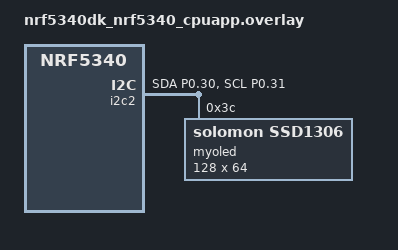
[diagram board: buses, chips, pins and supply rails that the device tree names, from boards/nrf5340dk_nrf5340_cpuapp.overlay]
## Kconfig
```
# Copyright (c) 2024 TOKITA Hiroshi
# SPDX-License-Identifier: Apache-2.0

mainmenu "CFB Sample Application"

config CFB_SAMPLE_TRANSFER_BUFFER_SIZE
	int "Buffer size for image transfer"
	default 0
	help
	  Dynamically allocate display object if set 0 to this option,

source "Kconfig.zephyr"
```

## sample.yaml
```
common:
  harness: display
  tags: display
sample:
  description: Character framebuffer test
  name: cfb sample
tests:
  sample.display.cfb.ssd1306:
    platform_allow: frdm_k64f
    extra_args: SHIELD=ssd1306_128x64
    tags: shield
  sample.display.cfb.ssd16xx:
    platform_allow: reel_board
```

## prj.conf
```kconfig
CONFIG_STDOUT_CONSOLE=y

CONFIG_HEAP_MEM_POOL_SIZE=16384

CONFIG_DISPLAY=y

CONFIG_LOG=y

CONFIG_CFB_LOG_LEVEL_DBG=y
CONFIG_CHARACTER_FRAMEBUFFER=y
```

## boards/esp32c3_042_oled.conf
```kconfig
# Display sits on the I2C bus
CONFIG_I2C=y
```

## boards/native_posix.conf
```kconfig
CONFIG_SDL_DISPLAY_DEV_NAME="DISPLAY"
CONFIG_SDL_DISPLAY_X_RES=250
CONFIG_SDL_DISPLAY_Y_RES=120
```

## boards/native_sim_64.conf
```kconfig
CONFIG_STDOUT_CONSOLE=n
CONFIG_HEAP_MEM_POOL_SIZE=1244160
CONFIG_SDL_DISPLAY_DEFAULT_PIXEL_FORMAT_MONO01=y
```

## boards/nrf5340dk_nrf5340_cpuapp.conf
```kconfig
CONFIG_I2C=y
CONFIG_SSD1306=y
```

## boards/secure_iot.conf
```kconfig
CONFIG_SPI=y
CONFIG_SPI_SHAKTI=y
CONFIG_MULTITASKING=y
```

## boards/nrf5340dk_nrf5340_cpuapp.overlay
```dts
/*
 * Copyright (c) 2026 Ravi
 * SPDX-License-Identifier: Apache-2.0
 */

/ {
	chosen {
		zephyr,display = &myoled;
	};
};

&pinctrl {
	i2c2_default: i2c2_default {
		group1 {
			psels = <NRF_PSEL(TWIM_SDA, 0, 30)>,
			        <NRF_PSEL(TWIM_SCL, 0, 31)>;
			bias-pull-up;
		};
	};
};

&i2c2 {
	status = "okay";
	pinctrl-0 = <&i2c2_default>;
	pinctrl-names = "default";
	zephyr,concat-buf-size = <1025>;

	myoled: ssd1306@3c {
		compatible = "solomon,ssd1306";
		reg = <0x3c>;
		width = <128>;
		height = <64>;
		segment-offset = <0>;
		page-offset = <0>;
		display-offset = <0>;
		multiplex-ratio = <63>;
		segment-remap;
		com-invdir;
		prechargep = <0x22>;
	};
};
```

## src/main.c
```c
/*
 * Copyright (c) 2018 PHYTEC Messtechnik GmbH
 *
 * SPDX-License-Identifier: Apache-2.0
 */

#include <zephyr/kernel.h>
#include <zephyr/device.h>
#include <zephyr/display/cfb.h>
#include <stdio.h>

int main(void)
{
	const struct device *dev;
	uint16_t x_res;
	uint16_t y_res;
	uint16_t rows;
	uint8_t ppt;
	uint8_t font_width;
	uint8_t font_height;
	int ret;

	dev = DEVICE_DT_GET(DT_CHOSEN(zephyr_display));
	if (!device_is_ready(dev)) {
		printf("Device %s not ready\n", dev->name);
		return 0;
	}

	if (display_set_pixel_format(dev, PIXEL_FORMAT_MONO10) != 0) {
		if (display_set_pixel_format(dev, PIXEL_FORMAT_MONO01) != 0) {
			printf("Failed to set required pixel format");
			return 0;
		}
	}

	printf("Initialized %s\n", dev->name);

	if (cfb_framebuffer_init(dev)) {
		printf("Framebuffer initialization failed!\n");
		return 0;
	}

	ret = cfb_framebuffer_clear(dev, true);
	if (ret < 0) {
		printf("cfb_framebuffer_clear(%s, true) failed: %d\n", dev->name, ret);
		return 0;
	}

	ret = display_blanking_off(dev);
	if (ret < 0 && ret != -ENOSYS) {
		printf("display_blanking_off(%s) failed: %d\n", dev->name, ret);
		return 0;
	}

	x_res = cfb_get_display_parameter(dev, CFB_DISPLAY_WIDTH);
	y_res = cfb_get_display_parameter(dev, CFB_DISPLAY_HEIGHT);
	rows = cfb_get_display_parameter(dev, CFB_DISPLAY_ROWS);
	ppt = cfb_get_display_parameter(dev, CFB_DISPLAY_PPT);

	for (int idx = 0; idx < 42; idx++) {
		if (cfb_get_font_size(dev, idx, &font_width, &font_height)) {
			break;
		}
		ret = cfb_framebuffer_set_font(dev, idx);
		if (ret < 0) {
			printf("cfb_framebuffer_set_font(%s, %d) failed: %d\n", dev->name, idx,
			       ret);
			return 0;
		}
		printf("font width %d, font height %d\n",
		       font_width, font_height);
	}

	printf("x_res %d, y_res %d, ppt %d, rows %d, cols %d\n",
	       x_res,
	       y_res,
	       ppt,
	       rows,
	       cfb_get_display_parameter(dev, CFB_DISPLAY_COLS));

	ret = cfb_framebuffer_invert(dev);
	if (ret < 0) {
		printf("cfb_framebuffer_invert(%s) failed: %d\n", dev->name, ret);
		return 0;
	}

	ret = cfb_set_kerning(dev, 3);
	if (ret < 0) {
		printf("cfb_set_kerning(%s, 3) failed: %d\n", dev->name, ret);
		return 0;
	}

	while (1) {
		for (int i = 0; i < MIN(x_res, y_res); i++) {
#if defined(CONFIG_ARCH_POSIX)
			k_sleep(K_MSEC(20));
#endif

			ret = cfb_framebuffer_clear(dev, false);
			if (ret < 0) {
				printf("Failed to clear the framebuffer: %d\n", ret);
				continue;
			}

			ret = cfb_print(dev, "0123456789mMgj!\"\xc2\xA7$%&/()=", i, i);
			if (ret < 0) {
				printf("Failed to print a string: %d\n", ret);
				continue;
			}

			ret = cfb_framebuffer_finalize(dev);
			if (ret < 0) {
				printf("Finalize failed: %d\n", ret);
				continue;
			}
		}
	}
	return 0;
}
```
